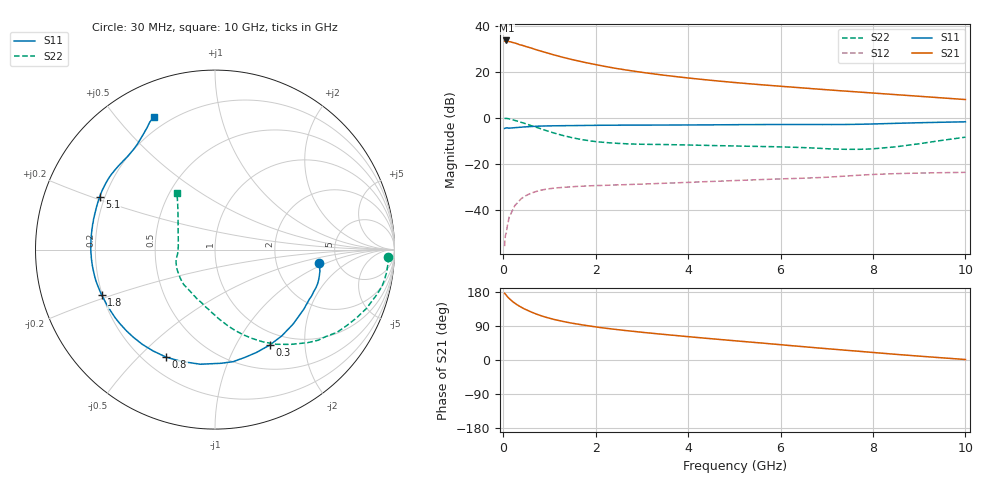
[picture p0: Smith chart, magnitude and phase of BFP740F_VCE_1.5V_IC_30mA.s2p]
! Infineon Technologies  Discrete & RF Semiconductors
! BFP740F
! VCE =  1.5 V,  IC =  30 mA
! Common Emitter S-Parameters:  Oct 2012
# GHz  S  MA  R  50
!  f  S11  S21  S12  S22
! GHz  MAG  ANG  MAG  ANG  MAG  ANG  MAG  ANG
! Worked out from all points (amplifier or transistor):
!   99 points, 30 MHz to 10 GHz, reference 50 ohm
!   highest |S21| = 33.6 dB at 70 MHz (marker M1)
!   |S21| within 3 dB of that: start of sweep to 553.8 MHz
!   unconditionally stable (mu >= 1): 4.926 GHz to end of sweep
!   at 350 MHz: K = 0.16, MSG = 33.9 dB, |S12| = -36.1 dB
!   at 3.5 GHz: K = 0.82, MSG = 23.5 dB, |S12| = -28.5 dB
!   at 10 GHz: K = 1.21, MAG = 13.1 dB, |S12| = -23.8 dB
!   S11 on the Smith chart (normalised r, x): 30 MHz: 3.64, -0.82; 300 MHz: 0.81, -1.39; 800 MHz: 0.29, -0.61; 1.8 GHz: 0.20, -0.19; 5.1 GHz: 0.18, +0.21; 10 GHz: 0.14, +0.63
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0.03  0.5868 -7.2  46.41 176.1  0.0016 95.7  0.9631 -2.4
0.05  0.597 -11.8  47.63 173.3  0.0028 78.6  0.9667 -5.0
0.07  0.6016 -16.3  48.14 170.3  0.0032 88.2  0.9651 -7.4
0.11  0.5972 -25.5  46.3 164.6  0.0055 79.4  0.9532 -12.2
0.2  0.6013 -43.7  43.58 154.5  0.0096 72.1  0.9047 -21.3
0.3  0.6132 -60.2  40.9 145.8  0.0138 66.5  0.8471 -30.0
0.35  0.618 -68.2  38.96 142.0  0.0157 64.0  0.8217 -34.1
0.4  0.6235 -74.7  38.05 138.7  0.0177 60.4  0.7865 -37.9
0.5  0.6343 -87.0  35.29 132.5  0.0204 55.4  0.7319 -45.1
0.6  0.6438 -97.3  33.07 127.0  0.0227 50.7  0.6758 -51.4
0.8  0.6582 -114.4  28.53 117.6  0.0263 43.4  0.5807 -62.4
1  0.6653 -127.4  24.91 110.3  0.0285 38.4  0.4997 -71.7
1.2  0.6695 -137.5  21.92 104.3  0.03 34.7  0.436 -79.7
1.4  0.6735 -145.7  19.45 99.2  0.031 32.2  0.3872 -86.7
1.7  0.6772 -155.3  16.57 92.9  0.0323 29.7  0.3343 -96.3
1.8  0.6806 -158.1  15.75 91.0  0.0327 29.0  0.3227 -99.5
2.5  0.6891 -172.6  11.61 79.8  0.0346 26.9  0.2759 -117.2
3.4  0.6933 174.5  8.636 68.4  0.0372 26.9  0.2618 -130.9
5.1  0.707 155.4  5.736 49.8  0.0432 27.8  0.2418 -148.5
6.7  0.7117 139.2  4.281 33.0  0.0492 28.1  0.2196 -167.8
8.5  0.7557 122.0  3.182 14.9  0.0607 24.1  0.2332 151.8
10  0.8155 114.6  2.491 1.3  0.0647 18.5  0.3778 124.0
